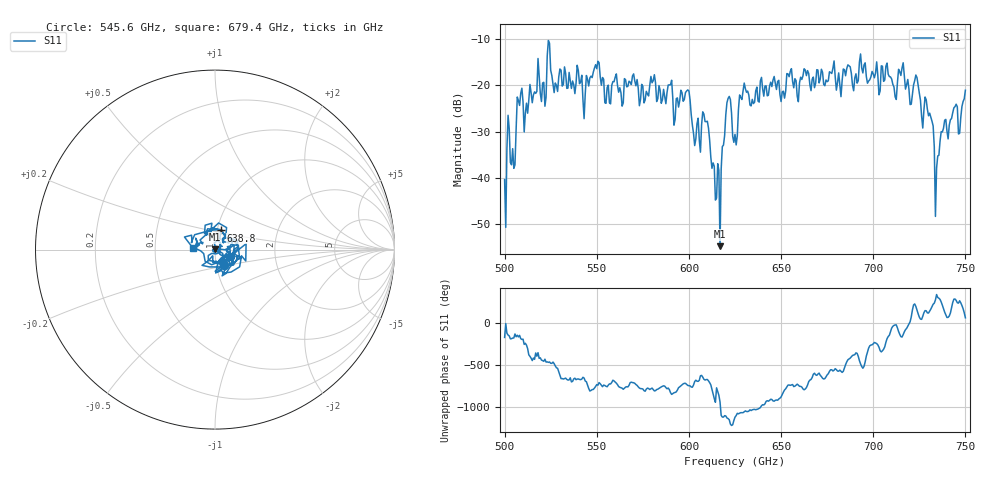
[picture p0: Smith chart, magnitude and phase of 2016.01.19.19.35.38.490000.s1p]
!Created with skrf (http://scikit-rf.org).
# GHz S RI R 50.0
!freq ReS11 ImS11
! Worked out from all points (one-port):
!   401 points, 500 GHz to 750 GHz, reference 50 ohm
!   lowest |S11| = -54.9 dB at 616.9 GHz (marker M1), VSWR 1.00, Z = 49.9 + j0.113 ohm
!   |S11| at or under -10 dB: start of sweep to end of sweep
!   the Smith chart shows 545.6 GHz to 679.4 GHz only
!   S11 on the Smith chart (normalised r, x): 545.6 GHz: 1.09, -0.19; 638.8 GHz: 1.04, +0.22; 679.4 GHz: 0.78, +0.01
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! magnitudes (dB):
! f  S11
! 500 GHz  -40.4
! 502.5 GHz  -29.4
! 504.4 GHz  -33.7
! 508.1 GHz  -24.3
! 521.2 GHz  -19.3
! 524.4 GHz  -10.9
! 527.5 GHz  -19.5
! 531.2 GHz  -20.2
! 545.6 GHz  -20.1
! 562.5 GHz  -20.5
! 580.6 GHz  -19.0
! 593.8 GHz  -22.7
! 603.1 GHz  -33.0
! 608.8 GHz  -27.8
! 615.6 GHz  -37.0
! 616.9 GHz  -54.9
! 621.2 GHz  -22.8
! 625 GHz  -30.6
! 628.8 GHz  -23.1
! 638.8 GHz  -19.1
! 656.2 GHz  -19.2
! 679.4 GHz  -18.2
! 687.5 GHz  -16.0
! 718.8 GHz  -18.7
! 729.4 GHz  -25.2
! 734.4 GHz  -37.9
! 738.1 GHz  -29.3
! 750 GHz  -21.1
